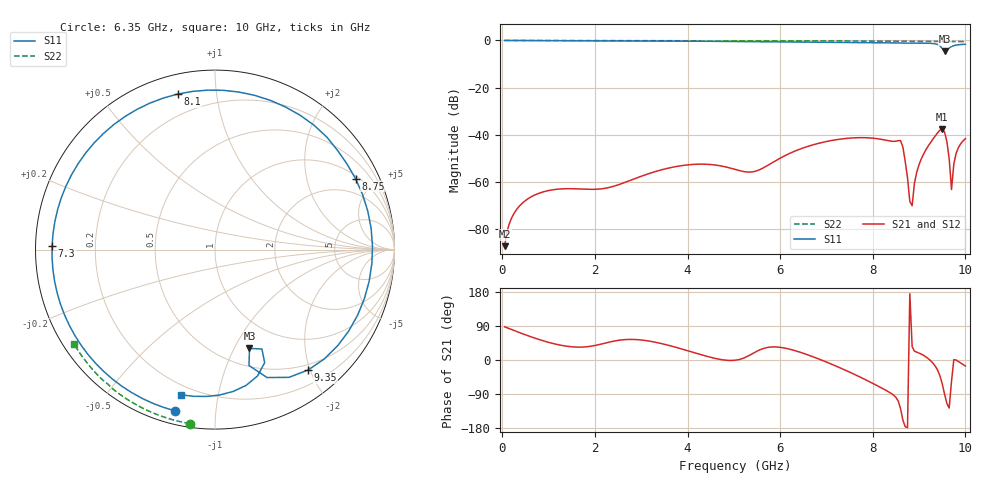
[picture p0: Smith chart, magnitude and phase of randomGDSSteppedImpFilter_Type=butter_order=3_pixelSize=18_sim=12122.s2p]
! freq	dB(S11)	phase(S11)	dB(S12)	phase(S12)
!  dB(S21)	phase(S21)	dB(S22)	phase(S22)
!S-par simulation data
#  GHz  S  DB  R 50
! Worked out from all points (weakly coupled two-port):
!   200 points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, 50 MHz to 10 GHz, reference 50 ohm
!   highest |S21| = -37.58 dB at 9.5 GHz (marker M1); lowest = -87.3 dB at 50 MHz (marker M2)
!   lowest |S11| = -4.7 dB at 9.55 GHz (marker M3), VSWR 3.80, Z = 34.5 - j57.6 ohm
!   |S11| at or under -10 dB: nowhere
!   |S22| runs from -0.5 to 0.0 dB; largest |S21 - S12| = 0
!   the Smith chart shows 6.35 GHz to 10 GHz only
!   S11 on the Smith chart (normalised r, x): 6.35 GHz: 0.06, -0.78; 7.3 GHz: 0.05, +0.01; 8.1 GHz: 0.09, +0.79; 8.75 GHz: 1.14, +3.89; 9.35 GHz: 0.41, -1.97; 10 GHz: 0.15, -0.78
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0.05  -0.00 -4.1  -87.32 87.6  -87.32 87.6  -0.00 -0.9
0.9  -0.09 -69.7  -64.18 50.1  -64.18 50.1  -0.02 -15.1
1.75  -0.13 -126.6  -63.11 34.3  -63.11 34.3  -0.04 -29.2
2.6  -0.17 -177.0  -60.61 53.3  -60.61 53.3  -0.05 -42.9
3.4  -0.22 134.9  -55.12 44.4  -55.12 44.4  -0.07 -55.4
4.25  -0.32 75.9  -52.52 15.5  -52.52 15.5  -0.10 -68.3
5.05  -0.45 9.3  -54.86 -0.2  -54.86 -0.2  -0.12 -80.0
6.35  -0.67 -103.9  -46.72 23.6  -46.72 23.6  -0.18 -98.2
6.7  -0.73 -132.4  -44.35 9.0  -44.35 9.0  -0.20 -102.9
7.3  -0.84 178.6  -41.88 -21.0  -41.88 -21.0  -0.24 -111.0
8.1  -1.00 103.4  -41.71 -68.0  -41.71 -68.0  -0.30 -121.5
8.35  -1.04 75.6  -42.60 -84.6  -42.60 -84.6  -0.32 -124.7
8.6  -1.07 45.2  -42.51 -128.4  -42.51 -128.4  -0.36 -128.0
8.75  -1.14 26.8  -58.29 -178.7  -58.29 -178.7  -0.36 -129.8
8.85  -1.13 14.1  -70.15 35.4  -70.15 35.4  -0.37 -131.1
9  -1.14 -5.1  -52.67 18.4  -52.67 18.4  -0.38 -133.1
9.35  -1.43 -52.2  -40.49 -16.4  -40.49 -16.4  -0.42 -137.6
9.5  -3.44 -73.7  -37.58 -62.8  -37.58 -62.8  -0.44 -139.6
9.55  -4.69 -70.8  -38.87 -90.0  -38.87 -90.0  -0.44 -140.2
9.7  -2.58 -71.4  -63.27 -56.5  -63.27 -56.5  -0.46 -142.1
9.8  -1.97 -82.8  -47.90 -0.0  -47.90 -0.0  -0.47 -143.5
10  -1.61 -103.2  -41.70 -15.8  -41.70 -15.8  -0.49 -146.1
